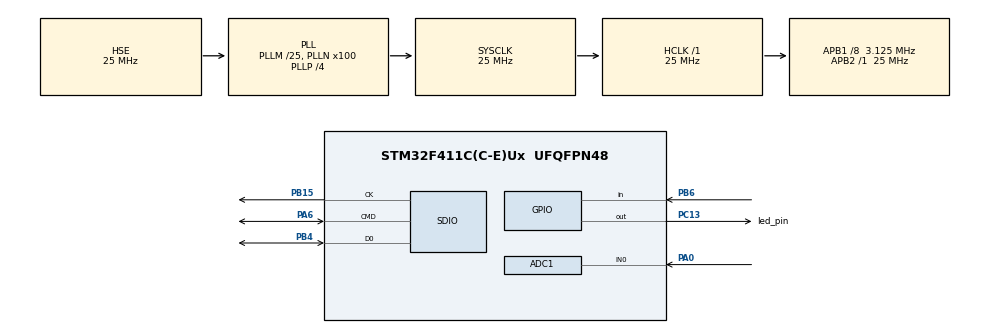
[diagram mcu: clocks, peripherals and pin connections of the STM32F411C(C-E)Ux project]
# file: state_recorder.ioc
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ADC1.Channel-1\#ChannelRegularConversion=ADC_CHANNEL_0
ADC1.ClockPrescaler=ADC_CLOCK_SYNC_PCLK_DIV4
ADC1.ContinuousConvMode=ENABLE
ADC1.DMAContinuousRequests=ENABLE
ADC1.ExternalTrigConv=ADC_SOFTWARE_START
ADC1.InjNumberOfConversion=0
ADC1.NbrOfConversion=1
ADC1.NbrOfConversionFlag=1
ADC1.Rank-1\#ChannelRegularConversion=1
ADC1.SamplingTime-1\#ChannelRegularConversion=ADC_SAMPLETIME_28CYCLES
ADC1.master=1
Dma.ADC1.2.Direction=DMA_PERIPH_TO_MEMORY
Dma.ADC1.2.FIFOMode=DMA_FIFOMODE_DISABLE
Dma.ADC1.2.Instance=DMA2_Stream0
Dma.ADC1.2.MemDataAlignment=DMA_MDATAALIGN_HALFWORD
Dma.ADC1.2.MemInc=DMA_MINC_ENABLE
Dma.ADC1.2.Mode=DMA_CIRCULAR
Dma.ADC1.2.PeriphDataAlignment=DMA_PDATAALIGN_HALFWORD
Dma.ADC1.2.PeriphInc=DMA_PINC_DISABLE
Dma.ADC1.2.Priority=DMA_PRIORITY_LOW
Dma.Request0=SDIO_RX
Dma.Request1=SDIO_TX
Dma.Request2=ADC1
Dma.SDIO_RX.0.Direction=DMA_PERIPH_TO_MEMORY
Dma.SDIO_RX.0.FIFOMode=DMA_FIFOMODE_ENABLE
Dma.SDIO_RX.0.FIFOThreshold=DMA_FIFO_THRESHOLD_FULL
Dma.SDIO_RX.0.Instance=DMA2_Stream3
Dma.SDIO_RX.0.MemBurst=DMA_MBURST_INC4
Dma.SDIO_RX.0.MemDataAlignment=DMA_MDATAALIGN_WORD
Dma.SDIO_RX.0.MemInc=DMA_MINC_ENABLE
Dma.SDIO_RX.0.Mode=DMA_PFCTRL
Dma.SDIO_RX.0.PeriphBurst=DMA_PBURST_INC4
Dma.SDIO_RX.0.PeriphDataAlignment=DMA_PDATAALIGN_WORD
Dma.SDIO_RX.0.PeriphInc=DMA_PINC_DISABLE
Dma.SDIO_RX.0.Priority=DMA_PRIORITY_LOW
Dma.SDIO_TX.1.Direction=DMA_MEMORY_TO_PERIPH
Dma.SDIO_TX.1.FIFOMode=DMA_FIFOMODE_ENABLE
Dma.SDIO_TX.1.FIFOThreshold=DMA_FIFO_THRESHOLD_FULL
Dma.SDIO_TX.1.Instance=DMA2_Stream6
Dma.SDIO_TX.1.MemBurst=DMA_MBURST_INC4
Dma.SDIO_TX.1.MemDataAlignment=DMA_MDATAALIGN_WORD
Dma.SDIO_TX.1.MemInc=DMA_MINC_ENABLE
Dma.SDIO_TX.1.Mode=DMA_PFCTRL
Dma.SDIO_TX.1.PeriphBurst=DMA_PBURST_INC4
Dma.SDIO_TX.1.PeriphDataAlignment=DMA_PDATAALIGN_WORD
Dma.SDIO_TX.1.PeriphInc=DMA_PINC_DISABLE
Dma.SDIO_TX.1.Priority=DMA_PRIORITY_LOW
FATFS.BSP.number=1
FATFS.USE_DMA_CODE_SD=1
FATFS._MAX_SS=4096
FATFS0.BSP.STBoard=false
FATFS0.BSP.api=Unknown
FATFS0.BSP.i2caddr=0
FATFS0.BSP.instance=PB6
FATFS0.BSP.ip=GPIO
FATFS0.BSP.mode=Input
FATFS0.BSP.name=Detect_SDIO
FATFS0.BSP.solution=PB6
Mcu.Family=STM32F4
Mcu.Name=STM32F411C(C-E)Ux
Mcu.Package=UFQFPN48
NVIC.DMA2_Stream0_IRQn=true\:0\:0\:false\:false\:true\:false\:true
NVIC.DMA2_Stream3_IRQn=true\:0\:0\:false\:false\:true\:false\:true
NVIC.DMA2_Stream6_IRQn=true\:0\:0\:false\:false\:true\:false\:true
NVIC.PriorityGroup=NVIC_PRIORITYGROUP_4
NVIC.SDIO_IRQn=true\:0\:0\:false\:false\:true\:true\:true
NVIC.TIM2_IRQn=true\:0\:0\:false\:false\:true\:true\:true
PA0-WKUP.Signal=ADCx_IN0
PA13.Mode=Serial_Wire
PA13.Signal=SYS_JTMS-SWDIO
PA14.Mode=Serial_Wire
PA14.Signal=SYS_JTCK-SWCLK
PA6.GPIO_PuPd=GPIO_PULLUP
PA6.Mode=SD_1_bit
PA6.Signal=SDIO_CMD
PB15.Mode=SD_1_bit
PB15.Signal=SDIO_CK
PB4.GPIO_PuPd=GPIO_PULLUP
PB4.Mode=SD_1_bit
PB4.Signal=SDIO_D0
PB6.GPIO_PuPd=GPIO_PULLUP
PB6.Signal=GPIO_Input
PC13-ANTI_TAMP.GPIO_Label=led_pin
PC13-ANTI_TAMP.GPIO_ModeDefaultOutputPP=GPIO_MODE_OUTPUT_OD
PC13-ANTI_TAMP.Signal=GPIO_Output
PH0\ -\ OSC_IN.Mode=HSE-External-Oscillator
PH0\ -\ OSC_IN.Signal=RCC_OSC_IN
PH1\ -\ OSC_OUT.Mode=HSE-External-Oscillator
PH1\ -\ OSC_OUT.Signal=RCC_OSC_OUT
ProjectManager.HeapSize=0x200
ProjectManager.StackSize=0x400
ProjectManager.TargetToolchain=STM32CubeIDE
RCC.48MHZClocksFreq_Value=25000000
RCC.AHBFreq_Value=25000000
RCC.APB1CLKDivider=RCC_HCLK_DIV8
RCC.APB1Freq_Value=3125000
RCC.APB1TimFreq_Value=6250000
RCC.APB2Freq_Value=25000000
RCC.APB2TimFreq_Value=25000000
RCC.CortexFreq_Value=25000000
RCC.HCLKFreq_Value=25000000
RCC.HSE_VALUE=25000000
RCC.HSI_VALUE=16000000
RCC.LSE_VALUE=32768
RCC.PLLM=25
RCC.PLLN=100
RCC.PLLP=RCC_PLLP_DIV4
RCC.PLLSourceVirtual=RCC_PLLSOURCE_HSE
RCC.SYSCLKFreq_VALUE=25000000
RCC.SYSCLKSource=RCC_SYSCLKSOURCE_PLLCLK
RCC.VCOOutputFreq_Value=100000000
SDIO.ClockDiv=4
SH.ADCx_IN0.0=ADC1_IN0,IN0
TIM2.Channel-Output\ Compare1\ No\ Output=TIM_CHANNEL_1
TIM2.Period=1000
TIM2.Prescaler=6250
TIM2.TIM_MasterOutputTrigger=TIM_TRGO_UPDATE
VP_FATFS_VS_SDIO.Mode=SDIO
VP_TIM2_VS_ClockSourceINT.Mode=Internal
VP_TIM2_VS_no_output1.Mode=Output Compare1 No Output
board=custom

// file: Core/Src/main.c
/* USER CODE BEGIN Header */
/**
  ******************************************************************************
  * @file           : main.c
  * @brief          : Current recorder
  ******************************************************************************
  * @attention
  *
  * <h2><center>&copy; Copyright (c) 2021 STMicroelectronics.
  * All rights reserved.</center></h2>
  *
  * This software component is licensed by ST under BSD 3-Clause license,
  * the "License"; You may not use this file except in compliance with the
  * License. You may obtain a copy of the License at:
  *                        opensource.org/licenses/BSD-3-Clause
  *
  ******************************************************************************
  */
/* USER CODE END Header */

#include "main.h"
#include "fatfs.h"

/* USER CODE BEGIN Includes */
#include "input_monitor.h"
#include "event_recorder.h"
/* USER CODE END Includes */

/* USER CODE BEGIN PM */
#define ADC_BUF_SIZE 3200
#define ADC_STEPS 4095
#define ADC_REF_VOLTAGE (3.28f)
#define AVERAGE_FILTER_ORDER 16

/* USER CODE END PM */

ADC_HandleTypeDef hadc1;
DMA_HandleTypeDef hdma_adc1;

SD_HandleTypeDef hsd;
DMA_HandleTypeDef hdma_sdio_rx;
DMA_HandleTypeDef hdma_sdio_tx;

TIM_HandleTypeDef htim2;

/* USER CODE BEGIN PV */
uint32_t voltagePresent = 0;
volatile enum states currentState = stateIdle;
input_monitor inputMonitor;
event_recorder eventRecorder;

volatile uint16_t adcBuffer[ADC_BUF_SIZE] = {0};

/* USER CODE END PV */

void SystemClock_Config(void);
static void MX_GPIO_Init(void);
static void MX_DMA_Init(void);
static void MX_SDIO_SD_Init(void);
static void MX_ADC1_Init(void);
static void MX_TIM2_Init(void);
/* USER CODE BEGIN PFP */
void startEventWrapper() {
	startEvent(&eventRecorder);
}

void endEventWrapper(float averageCurrent, float energy) {
	endEvent(&eventRecorder, averageCurrent, energy);
}

static void filter(volatile uint16_t* buf, uint32_t size) {
	for (int bufIndex = 0; bufIndex<=size-AVERAGE_FILTER_ORDER; bufIndex++) {
		uint32_t sum = 0;
		for (int filerIndex = 0; filerIndex < AVERAGE_FILTER_ORDER; filerIndex++) {
			sum += buf[bufIndex+filerIndex];
		}
		sum /= AVERAGE_FILTER_ORDER;
		buf[bufIndex+AVERAGE_FILTER_ORDER-1] = sum;
	}
	for (int bufIndex = 0; bufIndex<AVERAGE_FILTER_ORDER-1; bufIndex++) {
		buf[bufIndex] = buf[AVERAGE_FILTER_ORDER];
	}
}

static uint16_t findMinMaxDiff(volatile uint16_t* buf, uint32_t size) {
	uint16_t min = *buf, max = *buf;
	if (size > 0) {
		for (int i=1; i<size; i++) {
			if (buf[i] > max) max = buf[i];
			if (buf[i] < min) min = buf[i];
		}
	}
	return max-min;
}

static inline float voltageStepsToReal(uint16_t adc_voltage) {
	return (adc_voltage*ADC_REF_VOLTAGE)/ADC_STEPS;
}

/* USER CODE END PFP */

int main(void)
{

  /* MCU Configuration--------------------------------------------------------*/

  /* Reset of all peripherals, Initializes the Flash interface and the Systick. */
  HAL_Init();

  /* Configure the system clock */
  SystemClock_Config();

  /* Initialize all configured peripherals */
  MX_GPIO_Init();
  MX_DMA_Init();
  MX_SDIO_SD_Init();
  MX_FATFS_Init();
  MX_ADC1_Init();
  MX_TIM2_Init();
  /* USER CODE BEGIN 2 */

  HAL_GPIO_WritePin(led_pin_GPIO_Port, led_pin_Pin, GPIO_PIN_SET);
  HAL_TIM_IC_Start_IT(&htim2, TIM_CHANNEL_1);

  inputMonitor.on_detected_event = startEventWrapper;
  inputMonitor.off_detected_event = endEventWrapper;

  HAL_Delay(10);
  initRecorder(&eventRecorder, "zasilanie");

  /* USER CODE END 2 */

  /* Infinite loop */
  /* USER CODE BEGIN WHILE */
  uint16_t Vpp = 0;

  while (1)
  {

    /* USER CODE END WHILE */

    /* USER CODE BEGIN 3 */

	  switch (currentState) {
	  case stateStartAdc:
		  HAL_ADC_Start_DMA(&hadc1, adcBuffer, ADC_BUF_SIZE);
		  currentState = stateIdle;
		  break;
	  case stateProcessInput:
		  filter(adcBuffer, ADC_BUF_SIZE);
		  Vpp = findMinMaxDiff(adcBuffer, ADC_BUF_SIZE);
		  countInput(&inputMonitor, voltageStepsToReal(Vpp));
		  currentState = stateIdle;
		  break;
	  case stateIdle: break;
	  }

  }
  /* USER CODE END 3 */
}

void SystemClock_Config(void)
{
  RCC_OscInitTypeDef RCC_OscInitStruct = {0};
  RCC_ClkInitTypeDef RCC_ClkInitStruct = {0};

  /** Configure the main internal regulator output voltage
  */
  __HAL_RCC_PWR_CLK_ENABLE();
  __HAL_PWR_VOLTAGESCALING_CONFIG(PWR_REGULATOR_VOLTAGE_SCALE1);
  /** Initializes the CPU, AHB and APB busses clocks
  */
  RCC_OscInitStruct.OscillatorType = RCC_OSCILLATORTYPE_HSE;
  RCC_OscInitStruct.HSEState = RCC_HSE_ON;
  RCC_OscInitStruct.PLL.PLLState = RCC_PLL_ON;
  RCC_OscInitStruct.PLL.PLLSource = RCC_PLLSOURCE_HSE;
  RCC_OscInitStruct.PLL.PLLM = 25;
  RCC_OscInitStruct.PLL.PLLN = 100;
  RCC_OscInitStruct.PLL.PLLP = RCC_PLLP_DIV4;
  RCC_OscInitStruct.PLL.PLLQ = 4;
  if (HAL_RCC_OscConfig(&RCC_OscInitStruct) != HAL_OK)
  {
    Error_Handler();
  }
  /** Initializes the CPU, AHB and APB busses clocks
  */
  RCC_ClkInitStruct.ClockType = RCC_CLOCKTYPE_HCLK|RCC_CLOCKTYPE_SYSCLK
                              |RCC_CLOCKTYPE_PCLK1|RCC_CLOCKTYPE_PCLK2;
  RCC_ClkInitStruct.SYSCLKSource = RCC_SYSCLKSOURCE_PLLCLK;
  RCC_ClkInitStruct.AHBCLKDivider = RCC_SYSCLK_DIV1;
  RCC_ClkInitStruct.APB1CLKDivider = RCC_HCLK_DIV8;
  RCC_ClkInitStruct.APB2CLKDivider = RCC_HCLK_DIV1;

  if (HAL_RCC_ClockConfig(&RCC_ClkInitStruct, FLASH_LATENCY_0) != HAL_OK)
  {
    Error_Handler();
  }
}

static void MX_ADC1_Init(void)
{

  ADC_ChannelConfTypeDef sConfig = {0};

  /** Configure the global features of the ADC (Clock, Resolution, Data Alignment and number of conversion)
  */
  hadc1.Instance = ADC1;
  hadc1.Init.ClockPrescaler = ADC_CLOCK_SYNC_PCLK_DIV4;
  hadc1.Init.Resolution = ADC_RESOLUTION_12B;
  hadc1.Init.ScanConvMode = DISABLE;
  hadc1.Init.ContinuousConvMode = ENABLE;
  hadc1.Init.DiscontinuousConvMode = DISABLE;
  hadc1.Init.ExternalTrigConvEdge = ADC_EXTERNALTRIGCONVEDGE_NONE;
  hadc1.Init.ExternalTrigConv = ADC_SOFTWARE_START;
  hadc1.Init.DataAlign = ADC_DATAALIGN_RIGHT;
  hadc1.Init.NbrOfConversion = 1;
  hadc1.Init.DMAContinuousRequests = ENABLE;
  hadc1.Init.EOCSelection = ADC_EOC_SINGLE_CONV;
  if (HAL_ADC_Init(&hadc1) != HAL_OK)
  {
    Error_Handler();
  }
  /** Configure for the selected ADC regular channel its corresponding rank in the sequencer and its sample time.
  */
  sConfig.Channel = ADC_CHANNEL_0;
  sConfig.Rank = 1;
  sConfig.SamplingTime = ADC_SAMPLETIME_28CYCLES;
  if (HAL_ADC_ConfigChannel(&hadc1, &sConfig) != HAL_OK)
  {
    Error_Handler();
  }

}

static void MX_SDIO_SD_Init(void)
{

  hsd.Instance = SDIO;
  hsd.Init.ClockEdge = SDIO_CLOCK_EDGE_RISING;
  hsd.Init.ClockBypass = SDIO_CLOCK_BYPASS_DISABLE;
  hsd.Init.ClockPowerSave = SDIO_CLOCK_POWER_SAVE_DISABLE;
  hsd.Init.BusWide = SDIO_BUS_WIDE_1B;
  hsd.Init.HardwareFlowControl = SDIO_HARDWARE_FLOW_CONTROL_DISABLE;
  hsd.Init.ClockDiv = 4;

}

static void MX_TIM2_Init(void)
{

  TIM_ClockConfigTypeDef sClockSourceConfig = {0};
  TIM_MasterConfigTypeDef sMasterConfig = {0};
  TIM_OC_InitTypeDef sConfigOC = {0};

  htim2.Instance = TIM2;
  htim2.Init.Prescaler = 6250;
  htim2.Init.CounterMode = TIM_COUNTERMODE_UP;
  htim2.Init.Period = 1000;
  htim2.Init.ClockDivision = TIM_CLOCKDIVISION_DIV1;
  htim2.Init.AutoReloadPreload = TIM_AUTORELOAD_PRELOAD_DISABLE;
  if (HAL_TIM_Base_Init(&htim2) != HAL_OK)
  {
    Error_Handler();
  }
  sClockSourceConfig.ClockSource = TIM_CLOCKSOURCE_INTERNAL;
  if (HAL_TIM_ConfigClockSource(&htim2, &sClockSourceConfig) != HAL_OK)
  {
    Error_Handler();
  }
  if (HAL_TIM_OC_Init(&htim2) != HAL_OK)
  {
    Error_Handler();
  }
  sMasterConfig.MasterOutputTrigger = TIM_TRGO_UPDATE;
  sMasterConfig.MasterSlaveMode = TIM_MASTERSLAVEMODE_DISABLE;
  if (HAL_TIMEx_MasterConfigSynchronization(&htim2, &sMasterConfig) != HAL_OK)
  {
    Error_Handler();
  }
  sConfigOC.OCMode = TIM_OCMODE_TIMING;
  sConfigOC.Pulse = 0;
  sConfigOC.OCPolarity = TIM_OCPOLARITY_HIGH;
  sConfigOC.OCFastMode = TIM_OCFAST_DISABLE;
  if (HAL_TIM_OC_ConfigChannel(&htim2, &sConfigOC, TIM_CHANNEL_1) != HAL_OK)
  {
    Error_Handler();
  }

}

static void MX_DMA_Init(void)
{

  /* DMA controller clock enable */
  __HAL_RCC_DMA2_CLK_ENABLE();

  /* DMA interrupt init */
  /* DMA2_Stream0_IRQn interrupt configuration */
  HAL_NVIC_SetPriority(DMA2_Stream0_IRQn, 0, 0);
  HAL_NVIC_EnableIRQ(DMA2_Stream0_IRQn);
  /* DMA2_Stream3_IRQn interrupt configuration */
  HAL_NVIC_SetPriority(DMA2_Stream3_IRQn, 0, 0);
  HAL_NVIC_EnableIRQ(DMA2_Stream3_IRQn);
  /* DMA2_Stream6_IRQn interrupt configuration */
  HAL_NVIC_SetPriority(DMA2_Stream6_IRQn, 0, 0);
  HAL_NVIC_EnableIRQ(DMA2_Stream6_IRQn);

}

static void MX_GPIO_Init(void)
{
  GPIO_InitTypeDef GPIO_InitStruct = {0};

  /* GPIO Ports Clock Enable */
  __HAL_RCC_GPIOC_CLK_ENABLE();
  __HAL_RCC_GPIOH_CLK_ENABLE();
  __HAL_RCC_GPIOA_CLK_ENABLE();
  __HAL_RCC_GPIOB_CLK_ENABLE();

  /*Configure GPIO pin Output Level */
  HAL_GPIO_WritePin(led_pin_GPIO_Port, led_pin_Pin, GPIO_PIN_RESET);

  /*Configure GPIO pin : led_pin_Pin */
  GPIO_InitStruct.Pin = led_pin_Pin;
  GPIO_InitStruct.Mode = GPIO_MODE_OUTPUT_OD;
  GPIO_InitStruct.Pull = GPIO_NOPULL;
  GPIO_InitStruct.Speed = GPIO_SPEED_FREQ_LOW;
  HAL_GPIO_Init(led_pin_GPIO_Port, &GPIO_InitStruct);

  /*Configure GPIO pin : PB6 */
  GPIO_InitStruct.Pin = GPIO_PIN_6;
  GPIO_InitStruct.Mode = GPIO_MODE_INPUT;
  GPIO_InitStruct.Pull = GPIO_PULLUP;
  HAL_GPIO_Init(GPIOB, &GPIO_InitStruct);

}

/* USER CODE BEGIN 4 */

void HAL_ADC_ConvCpltCallback(ADC_HandleTypeDef* hadc) {
	HAL_ADC_Stop_DMA(&hadc1);
	currentState = stateProcessInput;
}
/* USER CODE END 4 */

void Error_Handler(void)
{
}

/************************ (C) COPYRIGHT STMicroelectronics *****END OF FILE****/
